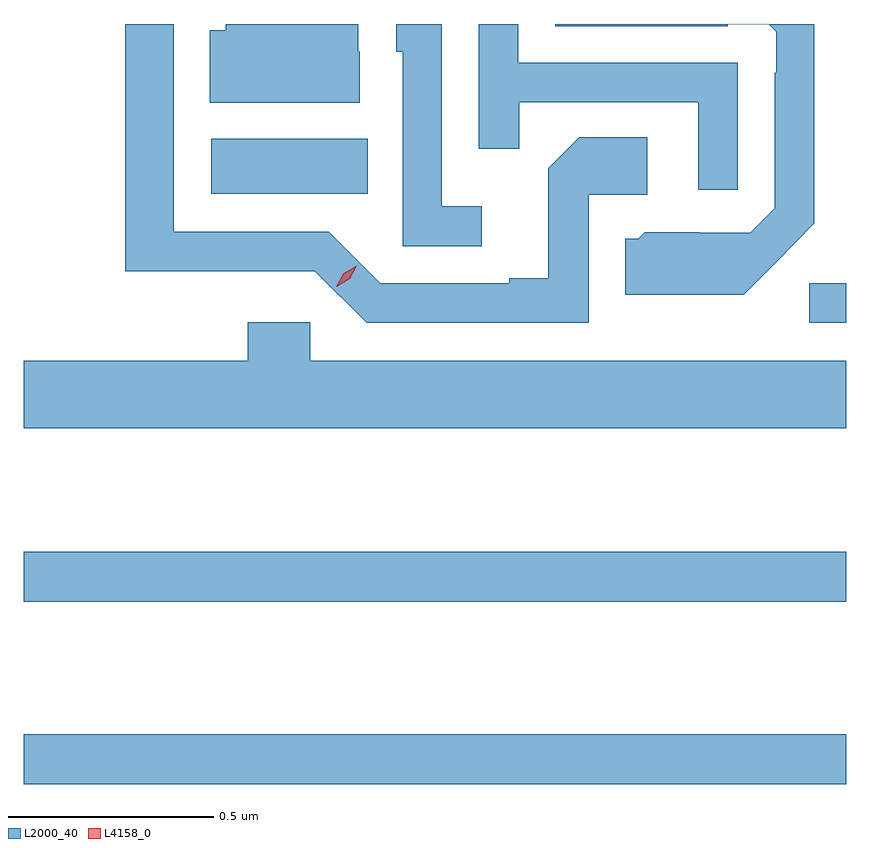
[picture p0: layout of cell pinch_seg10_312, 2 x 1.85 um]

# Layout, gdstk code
import gdstk
lib = gdstk.Library(unit=1e-6, precision=1e-09)
def R(c, l, rs):  # rectangles x0, y0, x1, y1
    for r in rs: c.add(gdstk.rectangle(r[:2], r[2:], *l))
def P(c, l, *ps):  # polygons
    for p in ps: c.add(gdstk.Polygon(p, *l))
L2000_40 = (2000, 40)
L4158_0 = (4158, 0)

pinch_seg10_312 = lib.new_cell('pinch_seg10_312')
R(pinch_seg10_312, L2000_40, [(485.904,1303.446,487.904,1303.567), (485.904,1303.89,487.904,1304.011), (487.815,1304.568,487.904,1304.664), (486.36,1304.882,486.74,1305.016)])
P(pinch_seg10_312, L2000_40, [(486.721,1305.228),(486.717,1305.228),(486.717,1305.295),(486.395,1305.295),(486.395,1305.28),(486.356,1305.28),(486.356,1305.104),(486.721,1305.104)],
  [(487.641,1305.201),(487.107,1305.201),(487.107,1305.295),(487.011,1305.295),(487.011,1304.992),(487.109,1304.992),(487.109,1305.105),(487.545,1305.105),(487.545,1304.892),(487.641,1304.892)],
  [(487.735,1304.717),(487.827,1304.81),(487.827,1305.295),(487.196,1305.295),(487.196,1305.29),(487.616,1305.29),(487.616,1305.294),(487.716,1305.294),(487.734,1305.276),(487.734,1305.176),(487.731,1305.176),(487.731,1304.847),(487.671,1304.787),(487.548,1304.787),(487.548,1304.788),(487.414,1304.788),(487.398,1304.772),(487.367,1304.772),(487.367,1304.636),(487.655,1304.636)],
  [(487.018,1304.851),(486.921,1304.851),(486.921,1305.295),(486.81,1305.295),(486.81,1305.228),(486.825,1305.228),(486.825,1304.754),(487.018,1304.754)],
  [(487.278,1304.88),(487.42,1304.88),(487.42,1305.02),(487.255,1305.02),(487.179,1304.944),(487.179,1304.677),(487.085,1304.677),(487.085,1304.664),(486.771,1304.664),(486.645,1304.79),(486.268,1304.79),(486.268,1305.295),(486.15,1305.295),(486.15,1304.693),(486.39,1304.693),(486.39,1304.694),(486.612,1304.694),(486.738,1304.568),(487.278,1304.568)],
  [(487.904,1304.476),(486.6,1304.476),(486.6,1304.569),(486.449,1304.569),(486.449,1304.476),(485.904,1304.476),(485.904,1304.312),(487.904,1304.312)])
P(pinch_seg10_312, L4158_0, [(486.664,1304.656),(486.664,1304.656),(486.682,1304.688),(486.714,1304.707),(486.714,1304.707),(486.714,1304.707),(486.697,1304.675),(486.665,1304.656)])

lib.write_gds('pinch_seg10_312.gds')
